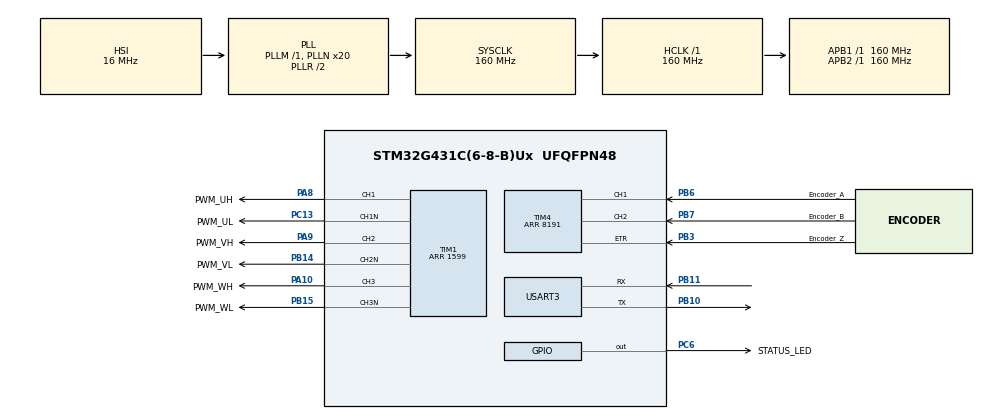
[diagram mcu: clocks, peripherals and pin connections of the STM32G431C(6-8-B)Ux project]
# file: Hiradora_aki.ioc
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Mcu.Family=STM32G4
Mcu.Name=STM32G431C(6-8-B)Ux
Mcu.Package=UFQFPN48
NVIC.PriorityGroup=NVIC_PRIORITYGROUP_4
NVIC.TIM1_TRG_COM_TIM17_IRQn=true\:0\:0\:false\:false\:true\:true\:true\:true
NVIC.TIM4_IRQn=true\:0\:0\:false\:false\:true\:true\:true\:true
NVIC.USART3_IRQn=true\:0\:0\:false\:false\:true\:true\:true\:true
PA10.GPIO_Label=PWM_WH
PA10.Signal=S_TIM1_CH3
PA8.GPIO_Label=PWM_UH
PA8.Signal=S_TIM1_CH1
PA9.GPIO_Label=PWM_VH
PA9.Signal=S_TIM1_CH2
PB10.Mode=Asynchronous
PB10.Signal=USART3_TX
PB11.Mode=Asynchronous
PB11.Signal=USART3_RX
PB14.GPIO_Label=PWM_VL
PB14.Mode=PWM Generation2 CH2 CH2N
PB14.Signal=TIM1_CH2N
PB15.GPIO_Label=PWM_WL
PB15.Mode=PWM Generation3 CH3 CH3N
PB15.Signal=TIM1_CH3N
PB3.GPIO_Label=Encoder_Z
PB3.GPIO_PuPd=GPIO_NOPULL
PB3.Signal=S_TIM4_ETR
PB6.GPIO_Label=Encoder_A
PB6.GPIO_PuPd=GPIO_NOPULL
PB6.Signal=S_TIM4_CH1
PB7.GPIO_Label=Encoder_B
PB7.GPIO_PuPd=GPIO_NOPULL
PB7.Signal=S_TIM4_CH2
PC13.GPIO_Label=PWM_UL
PC13.Mode=PWM Generation1 CH1 CH1N
PC13.Signal=TIM1_CH1N
PC6.GPIO_Label=STATUS_LED
PC6.Signal=GPIO_Output
ProjectManager.HeapSize=0x200
ProjectManager.StackSize=0x400
ProjectManager.TargetToolchain=CMake
RCC.ADC12Freq_Value=160000000
RCC.AHBFreq_Value=160000000
RCC.APB1Freq_Value=160000000
RCC.APB1TimFreq_Value=160000000
RCC.APB2Freq_Value=160000000
RCC.APB2TimFreq_Value=160000000
RCC.CortexFreq_Value=160000000
RCC.EXTERNAL_CLOCK_VALUE=12288000
RCC.HCLKFreq_Value=160000000
RCC.HSE_VALUE=8000000
RCC.HSI48_VALUE=48000000
RCC.HSI_VALUE=16000000
RCC.LSE_VALUE=32768
RCC.PLLN=20
RCC.SYSCLKFreq_VALUE=160000000
RCC.SYSCLKSource=RCC_SYSCLKSOURCE_PLLCLK
RCC.USBFreq_Value=160000000
RCC.VCOOutputFreq_Value=320000000
SH.S_TIM1_CH1.0=TIM1_CH1,PWM Generation1 CH1 CH1N
SH.S_TIM1_CH2.0=TIM1_CH2,PWM Generation2 CH2 CH2N
SH.S_TIM1_CH3.0=TIM1_CH3,PWM Generation3 CH3 CH3N
SH.S_TIM4_CH1.0=TIM4_CH1,Encoder_Interface_w_index
SH.S_TIM4_CH2.0=TIM4_CH2,Encoder_Interface_w_index
SH.S_TIM4_ETR.0=TIM4_ETR,Encoder_Interface_w_index
TIM1.AutoReloadPreload=TIM_AUTORELOAD_PRELOAD_ENABLE
TIM1.Channel-PWM\ Generation1\ CH1\ CH1N=TIM_CHANNEL_1
TIM1.Channel-PWM\ Generation2\ CH2\ CH2N=TIM_CHANNEL_2
TIM1.Channel-PWM\ Generation3\ CH3\ CH3N=TIM_CHANNEL_3
TIM1.CounterMode=TIM_COUNTERMODE_CENTERALIGNED2
TIM1.DeadTime=63
TIM1.DeadTimePreload=ENABLE
TIM1.OCFastMode_PWM-PWM\ Generation1\ CH1\ CH1N=TIM_OCFAST_ENABLE
TIM1.OCFastMode_PWM-PWM\ Generation2\ CH2\ CH2N=TIM_OCFAST_ENABLE
TIM1.OCFastMode_PWM-PWM\ Generation3\ CH3\ CH3N=TIM_OCFAST_ENABLE
TIM1.OCMode_PWM-PWM\ Generation1\ CH1\ CH1N=TIM_OCMODE_PWM2
TIM1.OCMode_PWM-PWM\ Generation2\ CH2\ CH2N=TIM_OCMODE_PWM2
TIM1.OCMode_PWM-PWM\ Generation3\ CH3\ CH3N=TIM_OCMODE_PWM2
TIM1.PeriodNoDither=1599
TIM1.RepetitionCounter=1
TIM1.TIM_MasterOutputTrigger=TIM_TRGO_UPDATE
TIM17.PeriodNoDither=15999
TIM17.Prescaler=99
TIM4.EncoderMode=TIM_ENCODERMODE_TI12
TIM4.FirstIndexEnable=ENABLE
TIM4.IC1Filter=15
TIM4.IC2Filter=15
TIM4.PeriodNoDither=8191
USART3.VirtualMode-Asynchronous=VM_ASYNC
VP_SYS_VS_DBSignals.Mode=DisableDeadBatterySignals
VP_TIM17_VS_ClockSourceINT.Mode=Enable_Timer
VP_TIM1_VS_ClockSourceINT.Mode=Internal
board=custom

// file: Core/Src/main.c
/* USER CODE BEGIN Header */
/**
  ******************************************************************************
  * @file           : main.c
  * @brief          : Main program body
  ******************************************************************************
  * @attention
  *
  * Copyright (c) 2025 STMicroelectronics.
  * All rights reserved.
  *
  * This software is licensed under terms that can be found in the LICENSE file
  * in the root directory of this software component.
  * If no LICENSE file comes with this software, it is provided AS-IS.
  *
  ******************************************************************************
  */
/* USER CODE END Header */
#include "main.h"

/* USER CODE BEGIN Includes */
#include <stdio.h>
/* USER CODE END Includes */

/* USER CODE BEGIN PD */
#define INITIAL_STATE 0
#define STATE_1 1
#define STATE_2 2
#define STATE_3 3
#define STATE_4 4
#define STATE_5 5
#define STATE_6 6
/* USER CODE END PD */

TIM_HandleTypeDef htim1;
TIM_HandleTypeDef htim4;
TIM_HandleTypeDef htim17;

UART_HandleTypeDef huart3;

/* USER CODE BEGIN PV */
uint8_t state = INITIAL_STATE;
/* USER CODE END PV */

void SystemClock_Config(void);
static void MX_GPIO_Init(void);
static void MX_USART3_UART_Init(void);
static void MX_TIM4_Init(void);
static void MX_TIM17_Init(void);
static void MX_TIM1_Init(void);

/* USER CODE BEGIN 0 */
void HAL_TIM_PeriodElapsedCallback(TIM_HandleTypeDef *htim)
{
  if (&htim17 == htim)
  {
    uint32_t dt = 10; //ms
    uint32_t on_duty = 900;
    uint32_t free_duty = 800;
    uint32_t off_duty = 700;
    switch (state)
    {
    case INITIAL_STATE:
      break;
    case STATE_1:
      __HAL_TIM_SET_COMPARE(&htim1, TIM_CHANNEL_1, on_duty);
      __HAL_TIM_SET_COMPARE(&htim1, TIM_CHANNEL_2, off_duty);
      __HAL_TIM_SET_COMPARE(&htim1, TIM_CHANNEL_3, free_duty);
      break;
    case STATE_2:
      __HAL_TIM_SET_COMPARE(&htim1, TIM_CHANNEL_1, on_duty);
      __HAL_TIM_SET_COMPARE(&htim1, TIM_CHANNEL_2, free_duty);
      __HAL_TIM_SET_COMPARE(&htim1, TIM_CHANNEL_3, off_duty);
      break;
    case STATE_3:
      __HAL_TIM_SET_COMPARE(&htim1, TIM_CHANNEL_1, free_duty);
      __HAL_TIM_SET_COMPARE(&htim1, TIM_CHANNEL_2, on_duty);
      __HAL_TIM_SET_COMPARE(&htim1, TIM_CHANNEL_3, off_duty);
      break;
    case STATE_4:
      __HAL_TIM_SET_COMPARE(&htim1, TIM_CHANNEL_1, off_duty);
      __HAL_TIM_SET_COMPARE(&htim1, TIM_CHANNEL_2, on_duty);
      __HAL_TIM_SET_COMPARE(&htim1, TIM_CHANNEL_3, free_duty);
      break;
    case STATE_5:
      __HAL_TIM_SET_COMPARE(&htim1, TIM_CHANNEL_1, off_duty);
      __HAL_TIM_SET_COMPARE(&htim1, TIM_CHANNEL_2, free_duty);
      __HAL_TIM_SET_COMPARE(&htim1, TIM_CHANNEL_3, on_duty);
      break;
    case STATE_6:
      __HAL_TIM_SET_COMPARE(&htim1, TIM_CHANNEL_1, free_duty);
      __HAL_TIM_SET_COMPARE(&htim1, TIM_CHANNEL_2, off_duty);
      __HAL_TIM_SET_COMPARE(&htim1, TIM_CHANNEL_3, on_duty);
      break;
    default:
      Error_Handler();
      break;
    }
    state++;
    if(state > STATE_6) state = STATE_1;
  }
}

int _write(int file, char *ptr, int len)
{
    HAL_UART_Transmit(&huart3,(uint8_t *)ptr,len,10);
    return len;
}
/* USER CODE END 0 */

int main(void)
{

  /* USER CODE BEGIN 1 */
  setbuf(stdout, NULL);
  /* USER CODE END 1 */

  /* MCU Configuration--------------------------------------------------------*/

  /* Reset of all peripherals, Initializes the Flash interface and the Systick. */
  HAL_Init();

  /* Configure the system clock */
  SystemClock_Config();

  /* Initialize all configured peripherals */
  MX_GPIO_Init();
  MX_USART3_UART_Init();
  MX_TIM4_Init();
  MX_TIM17_Init();
  MX_TIM1_Init();
  /* USER CODE BEGIN 2 */
  if (HAL_TIM_Encoder_Start_IT(&htim4, TIM_CHANNEL_ALL) != HAL_OK) Error_Handler();
  if (HAL_TIMEx_EnableEncoderIndex(&htim4) != HAL_OK) Error_Handler();

  if (HAL_TIM_PWM_Start(&htim1,TIM_CHANNEL_1) != HAL_OK) Error_Handler();
  if (HAL_TIM_PWM_Start(&htim1,TIM_CHANNEL_2) != HAL_OK) Error_Handler();
  if (HAL_TIM_PWM_Start(&htim1,TIM_CHANNEL_3) != HAL_OK) Error_Handler();
  if (HAL_TIMEx_PWMN_Start(&htim1,TIM_CHANNEL_1) != HAL_OK) Error_Handler();
  if (HAL_TIMEx_PWMN_Start(&htim1,TIM_CHANNEL_2) != HAL_OK) Error_Handler();
  if (HAL_TIMEx_PWMN_Start(&htim1,TIM_CHANNEL_3) != HAL_OK) Error_Handler();

  __HAL_TIM_SET_COMPARE(&htim1, TIM_CHANNEL_1, 0);
  __HAL_TIM_SET_COMPARE(&htim1, TIM_CHANNEL_2, 0);
  __HAL_TIM_SET_COMPARE(&htim1, TIM_CHANNEL_3, 0);

  HAL_Delay(3000);
  if (HAL_TIM_Base_Start_IT(&htim17) != HAL_OK) Error_Handler();
  /* USER CODE END 2 */

  /* Infinite loop */
  while (1)
  {

  }
}

void SystemClock_Config(void)
{
  RCC_OscInitTypeDef RCC_OscInitStruct = {0};
  RCC_ClkInitTypeDef RCC_ClkInitStruct = {0};

  /** Configure the main internal regulator output voltage
  */
  HAL_PWREx_ControlVoltageScaling(PWR_REGULATOR_VOLTAGE_SCALE1_BOOST);

  /** Initializes the RCC Oscillators according to the specified parameters
  * in the RCC_OscInitTypeDef structure.
  */
  RCC_OscInitStruct.OscillatorType = RCC_OSCILLATORTYPE_HSI;
  RCC_OscInitStruct.HSIState = RCC_HSI_ON;
  RCC_OscInitStruct.HSICalibrationValue = RCC_HSICALIBRATION_DEFAULT;
  RCC_OscInitStruct.PLL.PLLState = RCC_PLL_ON;
  RCC_OscInitStruct.PLL.PLLSource = RCC_PLLSOURCE_HSI;
  RCC_OscInitStruct.PLL.PLLM = RCC_PLLM_DIV1;
  RCC_OscInitStruct.PLL.PLLN = 20;
  RCC_OscInitStruct.PLL.PLLP = RCC_PLLP_DIV2;
  RCC_OscInitStruct.PLL.PLLQ = RCC_PLLQ_DIV2;
  RCC_OscInitStruct.PLL.PLLR = RCC_PLLR_DIV2;
  if (HAL_RCC_OscConfig(&RCC_OscInitStruct) != HAL_OK)
  {
    Error_Handler();
  }

  /** Initializes the CPU, AHB and APB buses clocks
  */
  RCC_ClkInitStruct.ClockType = RCC_CLOCKTYPE_HCLK|RCC_CLOCKTYPE_SYSCLK
                              |RCC_CLOCKTYPE_PCLK1|RCC_CLOCKTYPE_PCLK2;
  RCC_ClkInitStruct.SYSCLKSource = RCC_SYSCLKSOURCE_PLLCLK;
  RCC_ClkInitStruct.AHBCLKDivider = RCC_SYSCLK_DIV1;
  RCC_ClkInitStruct.APB1CLKDivider = RCC_HCLK_DIV1;
  RCC_ClkInitStruct.APB2CLKDivider = RCC_HCLK_DIV1;

  if (HAL_RCC_ClockConfig(&RCC_ClkInitStruct, FLASH_LATENCY_4) != HAL_OK)
  {
    Error_Handler();
  }
}

static void MX_TIM1_Init(void)
{

  TIM_ClockConfigTypeDef sClockSourceConfig = {0};
  TIM_MasterConfigTypeDef sMasterConfig = {0};
  TIM_OC_InitTypeDef sConfigOC = {0};
  TIM_BreakDeadTimeConfigTypeDef sBreakDeadTimeConfig = {0};

  htim1.Instance = TIM1;
  htim1.Init.Prescaler = 0;
  htim1.Init.CounterMode = TIM_COUNTERMODE_CENTERALIGNED2;
  htim1.Init.Period = 1599;
  htim1.Init.ClockDivision = TIM_CLOCKDIVISION_DIV1;
  htim1.Init.RepetitionCounter = 1;
  htim1.Init.AutoReloadPreload = TIM_AUTORELOAD_PRELOAD_ENABLE;
  if (HAL_TIM_Base_Init(&htim1) != HAL_OK)
  {
    Error_Handler();
  }
  sClockSourceConfig.ClockSource = TIM_CLOCKSOURCE_INTERNAL;
  if (HAL_TIM_ConfigClockSource(&htim1, &sClockSourceConfig) != HAL_OK)
  {
    Error_Handler();
  }
  if (HAL_TIM_PWM_Init(&htim1) != HAL_OK)
  {
    Error_Handler();
  }
  sMasterConfig.MasterOutputTrigger = TIM_TRGO_UPDATE;
  sMasterConfig.MasterOutputTrigger2 = TIM_TRGO2_RESET;
  sMasterConfig.MasterSlaveMode = TIM_MASTERSLAVEMODE_DISABLE;
  if (HAL_TIMEx_MasterConfigSynchronization(&htim1, &sMasterConfig) != HAL_OK)
  {
    Error_Handler();
  }
  sConfigOC.OCMode = TIM_OCMODE_PWM2;
  sConfigOC.Pulse = 0;
  sConfigOC.OCPolarity = TIM_OCPOLARITY_HIGH;
  sConfigOC.OCNPolarity = TIM_OCNPOLARITY_HIGH;
  sConfigOC.OCFastMode = TIM_OCFAST_ENABLE;
  sConfigOC.OCIdleState = TIM_OCIDLESTATE_RESET;
  sConfigOC.OCNIdleState = TIM_OCNIDLESTATE_RESET;
  if (HAL_TIM_PWM_ConfigChannel(&htim1, &sConfigOC, TIM_CHANNEL_1) != HAL_OK)
  {
    Error_Handler();
  }
  if (HAL_TIM_PWM_ConfigChannel(&htim1, &sConfigOC, TIM_CHANNEL_2) != HAL_OK)
  {
    Error_Handler();
  }
  if (HAL_TIM_PWM_ConfigChannel(&htim1, &sConfigOC, TIM_CHANNEL_3) != HAL_OK)
  {
    Error_Handler();
  }
  HAL_TIMEx_EnableDeadTimePreload(&htim1);
  sBreakDeadTimeConfig.OffStateRunMode = TIM_OSSR_DISABLE;
  sBreakDeadTimeConfig.OffStateIDLEMode = TIM_OSSI_DISABLE;
  sBreakDeadTimeConfig.LockLevel = TIM_LOCKLEVEL_OFF;
  sBreakDeadTimeConfig.DeadTime = 63;
  sBreakDeadTimeConfig.BreakState = TIM_BREAK_DISABLE;
  sBreakDeadTimeConfig.BreakPolarity = TIM_BREAKPOLARITY_HIGH;
  sBreakDeadTimeConfig.BreakFilter = 0;
  sBreakDeadTimeConfig.BreakAFMode = TIM_BREAK_AFMODE_INPUT;
  sBreakDeadTimeConfig.Break2State = TIM_BREAK2_DISABLE;
  sBreakDeadTimeConfig.Break2Polarity = TIM_BREAK2POLARITY_HIGH;
  sBreakDeadTimeConfig.Break2Filter = 0;
  sBreakDeadTimeConfig.Break2AFMode = TIM_BREAK_AFMODE_INPUT;
  sBreakDeadTimeConfig.AutomaticOutput = TIM_AUTOMATICOUTPUT_DISABLE;
  if (HAL_TIMEx_ConfigBreakDeadTime(&htim1, &sBreakDeadTimeConfig) != HAL_OK)
  {
    Error_Handler();
  }
  HAL_TIM_MspPostInit(&htim1);

}

static void MX_TIM4_Init(void)
{

  TIM_Encoder_InitTypeDef sConfig = {0};
  TIM_MasterConfigTypeDef sMasterConfig = {0};
  TIMEx_EncoderIndexConfigTypeDef sEncoderIndexConfig = {0};

  htim4.Instance = TIM4;
  htim4.Init.Prescaler = 0;
  htim4.Init.CounterMode = TIM_COUNTERMODE_UP;
  htim4.Init.Period = 8191;
  htim4.Init.ClockDivision = TIM_CLOCKDIVISION_DIV1;
  htim4.Init.AutoReloadPreload = TIM_AUTORELOAD_PRELOAD_DISABLE;
  sConfig.EncoderMode = TIM_ENCODERMODE_TI12;
  sConfig.IC1Polarity = TIM_ICPOLARITY_RISING;
  sConfig.IC1Selection = TIM_ICSELECTION_DIRECTTI;
  sConfig.IC1Prescaler = TIM_ICPSC_DIV1;
  sConfig.IC1Filter = 15;
  sConfig.IC2Polarity = TIM_ICPOLARITY_RISING;
  sConfig.IC2Selection = TIM_ICSELECTION_DIRECTTI;
  sConfig.IC2Prescaler = TIM_ICPSC_DIV1;
  sConfig.IC2Filter = 15;
  if (HAL_TIM_Encoder_Init(&htim4, &sConfig) != HAL_OK)
  {
    Error_Handler();
  }
  sMasterConfig.MasterOutputTrigger = TIM_TRGO_RESET;
  sMasterConfig.MasterSlaveMode = TIM_MASTERSLAVEMODE_DISABLE;
  if (HAL_TIMEx_MasterConfigSynchronization(&htim4, &sMasterConfig) != HAL_OK)
  {
    Error_Handler();
  }
  sEncoderIndexConfig.Polarity = TIM_ENCODERINDEX_POLARITY_NONINVERTED;
  sEncoderIndexConfig.Prescaler = TIM_ENCODERINDEX_PRESCALER_DIV1;
  sEncoderIndexConfig.Filter = 0;
  sEncoderIndexConfig.FirstIndexEnable = ENABLE;
  sEncoderIndexConfig.Position = TIM_ENCODERINDEX_POSITION_00;
  sEncoderIndexConfig.Direction = TIM_ENCODERINDEX_DIRECTION_UP_DOWN;
  if (HAL_TIMEx_ConfigEncoderIndex(&htim4, &sEncoderIndexConfig) != HAL_OK)
  {
    Error_Handler();
  }

}

static void MX_TIM17_Init(void)
{

  htim17.Instance = TIM17;
  htim17.Init.Prescaler = 99;
  htim17.Init.CounterMode = TIM_COUNTERMODE_UP;
  htim17.Init.Period = 15999;
  htim17.Init.ClockDivision = TIM_CLOCKDIVISION_DIV1;
  htim17.Init.RepetitionCounter = 0;
  htim17.Init.AutoReloadPreload = TIM_AUTORELOAD_PRELOAD_DISABLE;
  if (HAL_TIM_Base_Init(&htim17) != HAL_OK)
  {
    Error_Handler();
  }

}

static void MX_USART3_UART_Init(void)
{

  huart3.Instance = USART3;
  huart3.Init.BaudRate = 115200;
  huart3.Init.WordLength = UART_WORDLENGTH_8B;
  huart3.Init.StopBits = UART_STOPBITS_1;
  huart3.Init.Parity = UART_PARITY_NONE;
  huart3.Init.Mode = UART_MODE_TX_RX;
  huart3.Init.HwFlowCtl = UART_HWCONTROL_NONE;
  huart3.Init.OverSampling = UART_OVERSAMPLING_16;
  huart3.Init.OneBitSampling = UART_ONE_BIT_SAMPLE_DISABLE;
  huart3.Init.ClockPrescaler = UART_PRESCALER_DIV1;
  huart3.AdvancedInit.AdvFeatureInit = UART_ADVFEATURE_NO_INIT;
  if (HAL_UART_Init(&huart3) != HAL_OK)
  {
    Error_Handler();
  }
  if (HAL_UARTEx_SetTxFifoThreshold(&huart3, UART_TXFIFO_THRESHOLD_1_8) != HAL_OK)
  {
    Error_Handler();
  }
  if (HAL_UARTEx_SetRxFifoThreshold(&huart3, UART_RXFIFO_THRESHOLD_1_8) != HAL_OK)
  {
    Error_Handler();
  }
  if (HAL_UARTEx_DisableFifoMode(&huart3) != HAL_OK)
  {
    Error_Handler();
  }

}

static void MX_GPIO_Init(void)
{
  GPIO_InitTypeDef GPIO_InitStruct = {0};

  /* GPIO Ports Clock Enable */
  __HAL_RCC_GPIOC_CLK_ENABLE();
  __HAL_RCC_GPIOB_CLK_ENABLE();
  __HAL_RCC_GPIOA_CLK_ENABLE();

  /*Configure GPIO pin Output Level */
  HAL_GPIO_WritePin(STATUS_LED_GPIO_Port, STATUS_LED_Pin, GPIO_PIN_RESET);

  /*Configure GPIO pin : STATUS_LED_Pin */
  GPIO_InitStruct.Pin = STATUS_LED_Pin;
  GPIO_InitStruct.Mode = GPIO_MODE_OUTPUT_PP;
  GPIO_InitStruct.Pull = GPIO_NOPULL;
  GPIO_InitStruct.Speed = GPIO_SPEED_FREQ_LOW;
  HAL_GPIO_Init(STATUS_LED_GPIO_Port, &GPIO_InitStruct);

}

void Error_Handler(void)
{
  /* USER CODE BEGIN Error_Handler_Debug */
  /* User can add his own implementation to report the HAL error return state */
  __disable_irq();
  while (1)
  {
    HAL_GPIO_TogglePin(STATUS_LED_GPIO_Port, STATUS_LED_Pin);
    HAL_Delay(1000);
  }
  /* USER CODE END Error_Handler_Debug */
}
